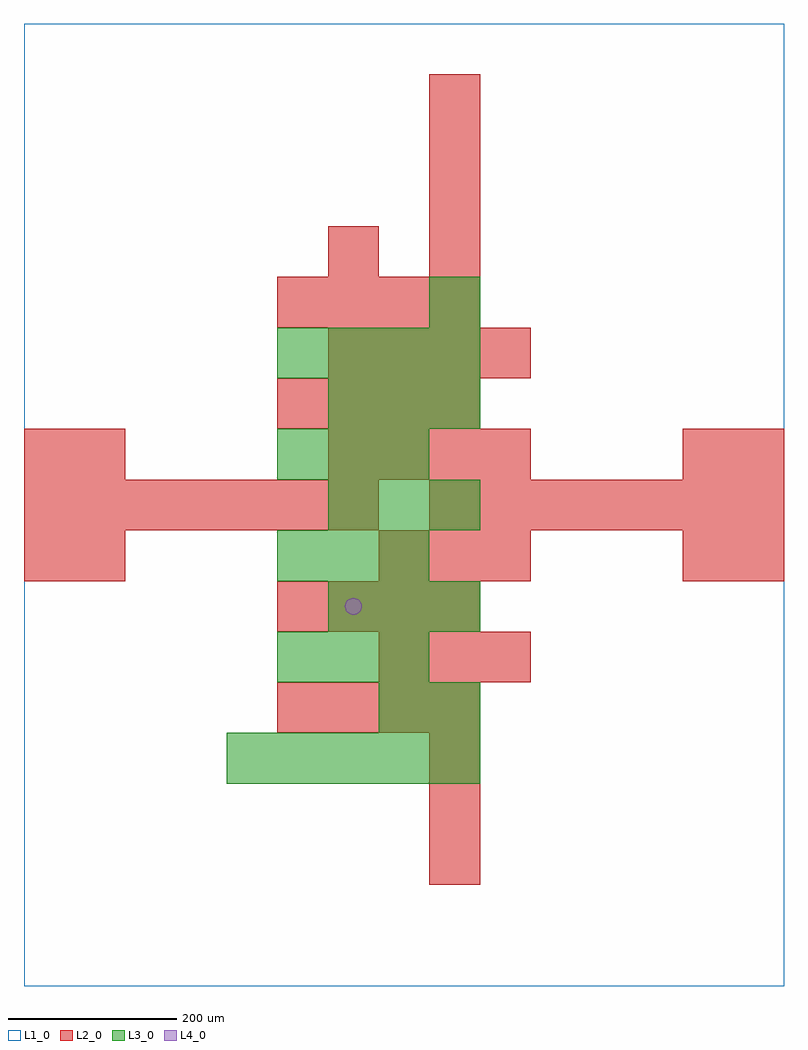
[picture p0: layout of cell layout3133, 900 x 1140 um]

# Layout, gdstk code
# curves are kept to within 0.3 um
import gdstk
lib = gdstk.Library(unit=1e-6, precision=1e-09)
def R(c, l, rs):  # rectangles x0, y0, x1, y1
    for r in rs: c.add(gdstk.rectangle(r[:2], r[2:], *l))
def A(c, l, x, y, w, h, nx, ny, dx, dy):  # array of equal rectangles
    R(c, l, [(x+i*dx, y+j*dy, x+i*dx+w, y+j*dy+h) for i in range(nx) for j in range(ny)])
def P(c, l, *ps):  # polygons
    for p in ps: c.add(gdstk.Polygon(p, *l))
L1_0 = (1, 0)
L2_0 = (2, 0)
L3_0 = (3, 0)
L4_0 = (4, 0)

layout3133 = lib.new_cell('layout3133')
R(layout3133, L1_0, [(0,0,900,1140)])
A(layout3133, L2_0, 480, 120, 60, 60, 1, 3, 0, 60)
A(layout3133, L2_0, 300, 300, 60, 60, 4, 2, 60, 120)
A(layout3133, L2_0, 420, 360, 60, 60, 3, 2, 60, 120)
A(layout3133, L2_0, 0, 540, 60, 60, 7, 1, 60, 0)
A(layout3133, L2_0, 480, 540, 60, 60, 7, 1, 60, 0)
A(layout3133, L2_0, 360, 600, 60, 60, 4, 2, 60, 120)
A(layout3133, L2_0, 300, 660, 60, 60, 4, 2, 60, 120)
A(layout3133, L2_0, 480, 840, 60, 60, 1, 4, 0, 60)
R(layout3133, L2_0, [(0,480,60,540), (60,480,120,540), (780,480,840,540), (840,480,900,540), (0,600,60,660), (60,600,120,660), (780,600,840,660), (840,600,900,660), (360,840,420,900)])
A(layout3133, L3_0, 240, 240, 60, 60, 5, 1, 60, 0)
A(layout3133, L3_0, 300, 360, 60, 60, 3, 3, 60, 120)
A(layout3133, L3_0, 360, 420, 60, 60, 3, 3, 60, 120)
A(layout3133, L3_0, 300, 720, 60, 60, 4, 1, 60, 0)
R(layout3133, L3_0, [(420,300,480,360), (480,300,540,360), (480,780,540,840)])
P(layout3133, L4_0, [(400,450),(399.239,453.827),(397.071,457.071),(393.827,459.239),(390,460),(386.173,459.239),(382.929,457.071),(380.761,453.827),(380,450),(380.761,446.173),(382.929,442.929),(386.173,440.761),(390,440),(393.827,440.761),(397.071,442.929),(399.239,446.173)])

lib.write_gds('layout3133.gds')
